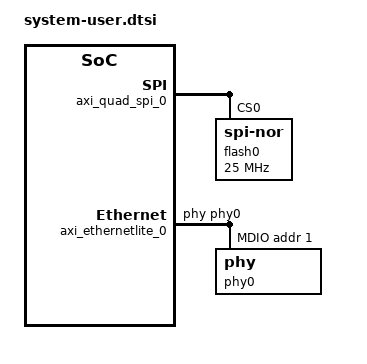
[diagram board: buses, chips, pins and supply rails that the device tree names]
/include/ "system-conf.dtsi"
/ {
};

/* QSPI PHY */

&axi_quad_spi_0 {
	#address-cells = <1>;
	#size-cells = <0>;
	flash0: flash@0 {
		compatible = "jedec,spi-nor";
		spi-tx-bus-width=<1>;
		spi-rx-bus-width=<4>;
		reg = <0x0>;
		#address-cells = <1>;
		#size-cells = <1>;
		spi-max-frequency = <25000000>;
	};
};



/* ETH PHY */
&axi_ethernetlite_0 {
    phy-handle = <&phy0>;
    mdio {
        #address-cells = <1>;
        #size-cells = <0>;
        phy0: phy@0 {
            device_type = "ethernet-phy";
            reg = <1>;
        };
    };
};
